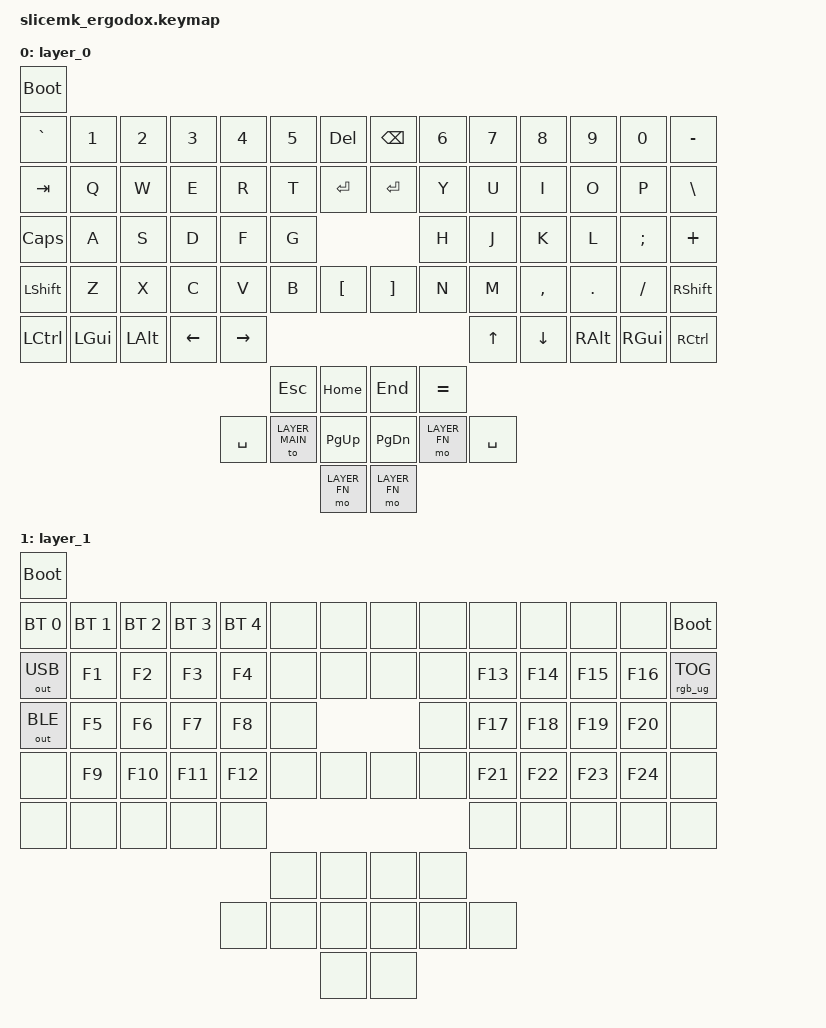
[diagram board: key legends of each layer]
#define LAYER_MAIN 0
#define LAYER_FN 1

#include <behaviors.dtsi>
#include <dt-bindings/zmk/bt.h>
#include <dt-bindings/zmk/keys.h>
#include <dt-bindings/zmk/outputs.h>
// #include <dt-bindings/zmk/pointing.h>
#include <dt-bindings/zmk/rgb.h>

/ {
	keymap {
		compatible = "zmk,keymap";
		layer_0 {
			bindings = <
				&bootloader
				&kp GRAVE        &kp NUMBER_1 &kp NUMBER_2 &kp NUMBER_3   &kp NUMBER_4    &kp NUMBER_5   &kp DELETE       &kp BACKSPACE     &kp NUMBER_6 &kp NUMBER_7 &kp NUMBER_8   &kp NUMBER_9  &kp NUMBER_0  &kp MINUS
				&kp TAB          &kp Q        &kp W        &kp E          &kp R           &kp T          &kp RETURN       &kp RETURN        &kp Y        &kp U        &kp I          &kp O         &kp P         &kp BACKSLASH
				&kp CAPSLOCK     &kp A        &kp S        &kp D          &kp F           &kp G                                             &kp H        &kp J        &kp K          &kp L         &kp SEMICOLON &kp PLUS
				&kp LEFT_SHIFT   &kp Z        &kp X        &kp C          &kp V           &kp B          &kp LEFT_BRACKET &kp RIGHT_BRACKET &kp N        &kp M        &kp COMMA      &kp PERIOD    &kp SLASH     &kp RIGHT_SHIFT
				&kp LEFT_CONTROL &kp LEFT_GUI &kp LEFT_ALT &kp LEFT_ARROW &kp RIGHT_ARROW                                                                &kp UP_ARROW &kp DOWN_ARROW &kp RIGHT_ALT &kp RIGHT_GUI &kp RIGHT_CONTROL
				                                                                          &kp ESCAPE     &kp HOME         &kp END           &kp EQUAL
				                                                          &kp SPACE       &to LAYER_MAIN &kp PAGE_UP      &kp PAGE_DOWN     &mo LAYER_FN &kp SPACE
				                                                                                         &mo LAYER_FN     &mo LAYER_FN
			>;
		};
		layer_1 {
			bindings = <
				&bootloader
				&bt BT_SEL 0 &bt BT_SEL 1 &bt BT_SEL 2 &bt BT_SEL 3 &bt BT_SEL 4 &none &none &none &none &none   &none   &none   &none   &bootloader
				&out OUT_USB &kp F1       &kp F2       &kp F3       &kp F4       &none &none &none &none &kp F13 &kp F14 &kp F15 &kp F16 &rgb_ug RGB_TOG
				&out OUT_BLE &kp F5       &kp F6       &kp F7       &kp F8       &none             &none &kp F17 &kp F18 &kp F19 &kp F20 &none
				&none        &kp F9       &kp F10      &kp F11      &kp F12      &none &none &none &none &kp F21 &kp F22 &kp F23 &kp F24 &none
				&none        &none        &none        &none        &none                                &none   &none   &none   &none   &none
				                                                                 &none &none &none &none
				                                                    &none        &none &none &none &none &none
				                                                                       &none &none
			>;
		};
	};
};
